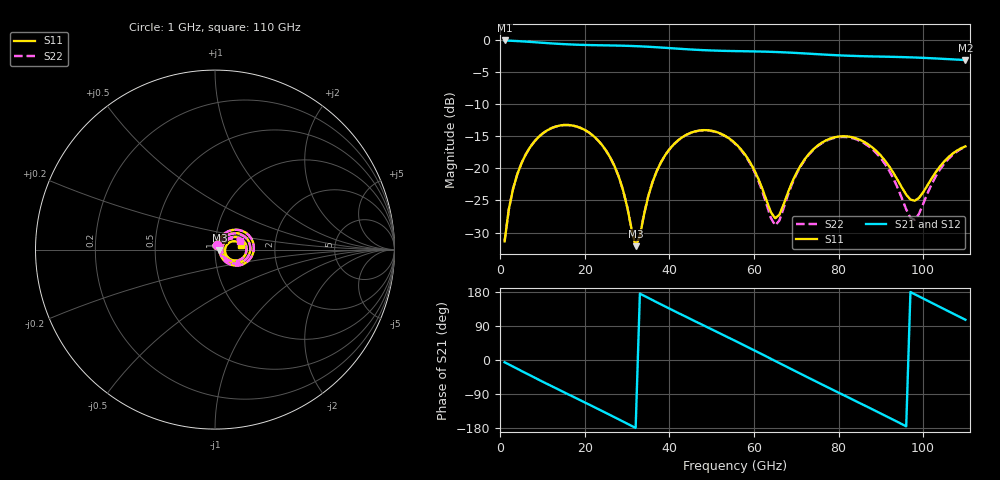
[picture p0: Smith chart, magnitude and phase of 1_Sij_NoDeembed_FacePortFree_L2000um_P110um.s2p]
! Touchstone file exported from HFSS 2024.2.0
!  File:  C:/Users/vaintrug/Documents/Ansoft_Workspace/Comparaison_Calculs_HFSS/1_VarPort.aedt
!  Generated:  03:22:18 PM Jan 21, 2025
!  Design:  1_NoDeembed_FacePortFree
!  Project:  1_VarPort
!  Setup:  Setup1
!  Solution:  Sweep
! Variables:
!  $Lenght = 2000um
!  $PortSize = 110um
!  Gap = 30um
!  Th = 2um
!  X_centralStrip = 20um
!  X_masse = 200um
!  Y_Sub = 2mm
!  Z_Box = 400um
!  Z_Sub = 200um
# GHz S MA R 50.000000
! Terminal data exported
! Port[1] = 1
! Port[2] = 2
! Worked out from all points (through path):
!   110 points, 1 GHz to 110 GHz, reference 50 ohm
!   highest |S21| = -0.13 dB at 1 GHz (marker M1); lowest = -3.2 dB at 110 GHz (marker M2)
!   group delay of S21, straight-line fit = 15.5 ps
!   lowest |S11| = -32.1 dB at 32 GHz (marker M3), VSWR 1.05, Z = 52.5 - j0.24 ohm
!   |S11| at or under -10 dB: start of sweep to end of sweep
!   |S22| runs from -32.0 to -13.3 dB; largest |S21 - S12| = 1.5e-14
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1  0.02703 60.6  0.9854 -5.9  0.9854 -5.9  0.02703 60.6
! Gamma 5.85129128685858 50.2419978622474 5.80363169740167 50.0512167229685
! Port Impedance 50 0 50 0
3  0.06909 65.5  0.9783 -17.4  0.9783 -17.4  0.06908 65.5
7  0.1452 48.7  0.9605 -40.3  0.9605 -40.3  0.1451 48.7
13  0.2106 18.0  0.9308 -73.8  0.9308 -73.8  0.2104 17.8
20  0.1982 -17.2  0.9092 -112.2  0.9092 -112.2  0.1981 -17.4
27  0.1038 -47.3  0.8999 -151.0  0.8999 -151.0  0.1037 -47.4
32  0.02476 -5.3  0.8899 -179.3  0.8899 -179.3  0.02524 -5.5
38  0.1114 48.3  0.8682 146.8  0.8682 146.8  0.1113 47.4
43  0.1741 27.8  0.8465 119.0  0.8465 119.0  0.1736 26.9
47  0.1964 9.7  0.8316 97.1  0.8316 97.1  0.1957 8.5
51  0.1918 -8.3  0.8213 75.3  0.8213 75.3  0.1908 -9.7
56  0.1512 -28.9  0.814 47.9  0.814 47.9  0.1496 -30.9
60  0.09776 -39.7  0.8098 25.7  0.8098 25.7  0.0954 -42.7
65  0.04078 -2.7  0.8016 -2.5  0.8016 -2.5  0.03593 -3.2
70  0.09137 39.3  0.7877 -30.7  0.7877 -30.7  0.08956 41.0
74  0.14 29.7  0.774 -53.0  0.774 -53.0  0.1385 30.1
78  0.1699 14.6  0.7608 -75.2  0.7608 -75.2  0.1682 14.1
83  0.1748 -5.5  0.7481 -102.6  0.7481 -102.6  0.1721 -7.1
92  0.1031 -32.0  0.7356 -152.5  0.7356 -152.5  0.09533 -37.8
98  0.0558 -0.2  0.7262 173.7  0.7262 173.7  0.0396 4.7
104  0.1033 25.9  0.711 139.8  0.711 139.8  0.09789 36.4
110  0.1478 10.1  0.6939 106.2  0.6939 106.2  0.1468 17.9
